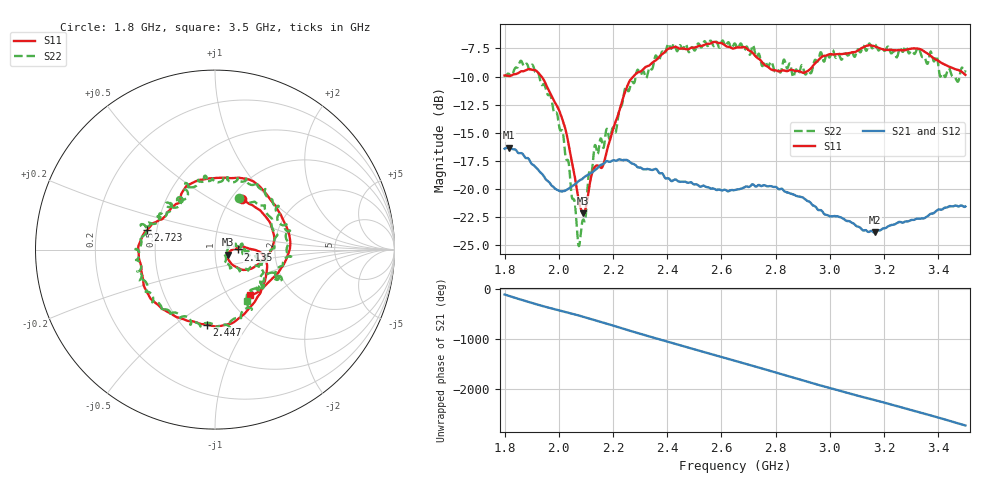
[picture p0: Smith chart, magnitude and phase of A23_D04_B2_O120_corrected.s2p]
! Created with skrf 1.9.0 (http://scikit-rf.org).
# Hz S RI R 50.0
!freq ReS11 ImS11 ReS21 ImS21 ReS12 ImS12 ReS22 ImS22
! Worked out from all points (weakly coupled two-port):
!   1601 points, 1.8 GHz to 3.5 GHz, reference 50 ohm
!   highest |S21| = -16.32 dB at 1.817 GHz (marker M1); lowest = -23.9 dB at 3.165 GHz (marker M2)
!   lowest |S11| = -22.2 dB at 2.09 GHz (marker M3), VSWR 1.17, Z = 57.8 - j3.19 ohm
!   |S11| at or under -10 dB: 1.936 GHz to 2.275 GHz (339.1 MHz wide, 16.1 % of centre)
!   |S22| runs from -25.1 to -6.8 dB; largest |S21 - S12| = 0.0025
!   S11 on the Smith chart (normalised r, x): 1.8 GHz: 1.13, +0.71; 2.135 GHz: 1.29, +0.00; 2.447 GHz: 0.65, -0.66; 2.723 GHz: 0.44, +0.12; 3.5 GHz: 1.26, -0.72
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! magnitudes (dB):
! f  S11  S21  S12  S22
! 1.8 GHz  -9.9  -16.4  -16.4  -9.9
! 1.817 GHz  -10.0  -16.3  -16.3  -9.8
! 1.903 GHz  -9.4  -17.8  -17.8  -9.0
! 1.968 GHz  -11.5  -19.5  -19.6  -11.6
! 2.015 GHz  -13.9  -20.2  -20.2  -15.0
! 2.072 GHz  -20.8  -19.3  -19.4  -25.0
! 2.084 GHz  -21.9  -19.2  -19.1  -23.3
! 2.09 GHz  -22.2  -19.0  -19.1  -22.7
! 2.135 GHz  -18.0  -18.3  -18.3  -16.1
! 2.164 GHz  -17.8  -17.8  -17.7  -16.4
! 2.209 GHz  -14.0  -17.5  -17.4  -15.0
! 2.261 GHz  -10.4  -17.6  -17.6  -11.1
! 2.367 GHz  -8.3  -18.5  -18.4  -8.6
! 2.447 GHz  -7.5  -19.4  -19.4  -7.2
! 2.65 GHz  -7.5  -20.1  -20.1  -7.1
! 2.723 GHz  -8.1  -19.7  -19.7  -7.8
! 2.802 GHz  -9.5  -19.8  -19.8  -9.5
! 2.934 GHz  -9.2  -21.4  -21.3  -9.5
! 3.165 GHz  -7.3  -23.9  -23.8  -7.2
! 3.217 GHz  -7.6  -23.3  -23.3  -7.4
! 3.468 GHz  -9.4  -21.5  -21.5  -10.4
! 3.5 GHz  -9.8  -21.6  -21.5  -9.4
